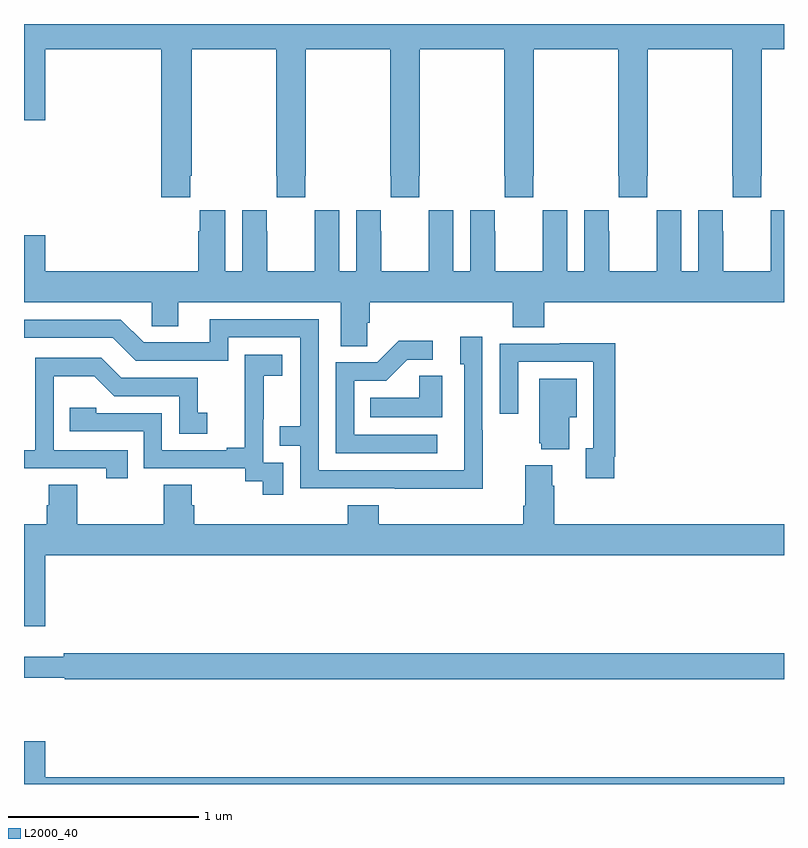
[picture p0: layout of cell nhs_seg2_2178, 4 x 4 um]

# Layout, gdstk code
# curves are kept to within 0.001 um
import gdstk
lib = gdstk.Library(unit=1e-6, precision=1e-09)
def P(c, l, *ps):  # polygons
    for p in ps: c.add(gdstk.Polygon(p, *l))
L2000_40 = (2000, 40)

nhs_seg2_2178 = lib.new_cell('nhs_seg2_2178')
P(nhs_seg2_2178, L2000_40, [(225,615.294),(225.112,615.294),(225.112,615.668),(225.722,615.668),(225.722,614.889),(225.875,614.889),(225.875,615.001),(225.882,615.001),(225.882,615.668),(226.327,615.668),(226.327,615.001),(226.329,615.001),(226.329,614.889),(226.479,614.889),(226.479,615.001),(226.482,615.001),(226.482,615.668),(226.927,615.668),(226.927,615.001),(226.929,615.001),(226.929,614.889),(227.079,614.889),(227.079,615.001),(227.082,615.001),(227.082,615.668),(227.527,615.668),(227.527,615.001),(227.529,615.001),(227.529,614.889),(227.679,614.889),(227.679,615.001),(227.682,615.001),(227.682,615.668),(228.127,615.668),(228.127,615.001),(228.129,615.001),(228.129,614.889),(228.279,614.889),(228.279,615.001),(228.282,615.001),(228.282,615.668),(228.727,615.668),(228.727,615.001),(228.729,615.001),(228.729,614.889),(228.879,614.889),(228.879,615.001),(228.882,615.001),(228.882,615.668),(229,615.668),(229,615.8),(225,615.8)],
  [(225.112,614.689),(225,614.689),(225,614.336),(225.672,614.336),(225.672,614.209),(225.811,614.209),(225.811,614.336),(226.667,614.336),(226.667,614.104),(226.806,614.104),(226.806,614.227),(226.82,614.227),(226.82,614.336),(227.573,614.336),(227.573,614.203),(227.738,614.203),(227.738,614.336),(229,614.336),(229,614.821),(228.93,614.821),(228.93,614.708),(228.929,614.708),(228.929,614.5),(228.679,614.5),(228.679,614.708),(228.678,614.708),(228.678,614.821),(228.548,614.821),(228.548,614.5),(228.46,614.5),(228.46,614.821),(228.33,614.821),(228.33,614.708),(228.329,614.708),(228.329,614.5),(228.079,614.5),(228.079,614.708),(228.078,614.708),(228.078,614.821),(227.948,614.821),(227.948,614.5),(227.86,614.5),(227.86,614.821),(227.73,614.821),(227.73,614.708),(227.729,614.708),(227.729,614.5),(227.479,614.5),(227.479,614.708),(227.478,614.708),(227.478,614.821),(227.348,614.821),(227.348,614.5),(227.26,614.5),(227.26,614.821),(227.13,614.821),(227.13,614.708),(227.129,614.708),(227.129,614.5),(226.879,614.5),(226.879,614.708),(226.878,614.708),(226.878,614.821),(226.748,614.821),(226.748,614.5),(226.66,614.5),(226.66,614.821),(226.53,614.821),(226.53,614.708),(226.529,614.708),(226.529,614.5),(226.279,614.5),(226.279,614.708),(226.278,614.708),(226.278,614.821),(226.148,614.821),(226.148,614.5),(226.06,614.5),(226.06,614.821),(225.926,614.821),(225.926,614.708),(225.917,614.708),(225.917,614.5),(225.112,614.5)],
  [(227.415,613.661),(227.412,613.661),(227.412,614.155),(227.297,614.155),(227.297,614.01),(227.316,614.01),(227.316,613.452),(226.551,613.452),(226.551,614.247),(225.977,614.247),(225.977,614.124),(225.63,614.124),(225.51,614.244),(225,614.244),(225,614.148),(225.468,614.148),(225.588,614.028),(226.074,614.028),(226.074,614.151),(226.455,614.151),(226.455,613.682),(226.345,613.682),(226.345,613.581),(226.455,613.581),(226.455,613.356),(227.415,613.355)],
  [(227.176,613.638),(226.737,613.638),(226.737,613.923),(226.906,613.923),(227.017,614.034),(227.152,614.034),(227.152,614.132),(226.973,614.132),(226.86,614.019),(226.641,614.019),(226.641,613.542),(227.176,613.542)],
  [(228.106,613.522),(228.113,613.522),(228.113,614.12),(227.821,614.12),(227.821,614.118),(227.505,614.118),(227.505,613.749),(227.601,613.749),(227.601,614.022),(227.997,614.022),(227.997,613.566),(227.957,613.566),(227.957,613.41),(228.106,613.41)],
  [(226.365,613.491),(226.26,613.491),(226.26,613.721),(226.262,613.721),(226.262,613.949),(226.36,613.949),(226.36,614.059),(226.162,614.059),(226.162,613.853),(226.163,613.853),(226.163,613.57),(226.067,613.57),(226.067,613.557),(225.726,613.557),(225.726,613.752),(225.381,613.752),(225.381,613.779),(225.241,613.779),(225.241,613.656),(225.63,613.656),(225.63,613.461),(226.164,613.461),(226.164,613.393),(226.257,613.393),(226.257,613.323),(226.365,613.323)],
  [(225.545,613.557),(225.156,613.557),(225.156,613.946),(225.37,613.946),(225.474,613.842),(225.816,613.842),(225.816,613.644),(225.964,613.644),(225.964,613.753),(225.915,613.753),(225.915,613.938),(225.511,613.938),(225.406,614.043),(225.06,614.043),(225.06,613.557),(225,613.557),(225,613.461),(225.434,613.461),(225.434,613.41),(225.545,613.41)],
  [(227.2,613.949),(227.079,613.949),(227.079,613.834),(226.822,613.834),(226.822,613.73),(227.2,613.73)],
  [(227.869,613.73),(227.908,613.73),(227.908,613.933),(227.711,613.933),(227.711,613.593),(227.723,613.593),(227.723,613.562),(227.869,613.562)],
  [(225.112,613.004),(229,613.004),(229,613.168),(227.792,613.168),(227.792,613.37),(227.779,613.37),(227.779,613.477),(227.639,613.477),(227.639,613.264),(227.627,613.264),(227.627,613.168),(226.868,613.168),(226.868,613.267),(226.703,613.267),(226.703,613.168),(225.896,613.168),(225.896,613.266),(225.883,613.266),(225.883,613.376),(225.736,613.376),(225.736,613.168),(225.279,613.168),(225.279,613.376),(225.131,613.376),(225.131,613.266),(225.119,613.266),(225.119,613.168),(225,613.168),(225,612.63),(225.112,612.63)],
  [(229,612.488),(225.208,612.488),(225.208,612.469),(225,612.469),(225,612.36),(225.214,612.36),(225.214,612.352),(229,612.352)],
  [(229,611.836),(225.112,611.836),(225.112,612.025),(225,612.025),(225,611.8),(229,611.8)])

lib.write_gds('nhs_seg2_2178.gds')
